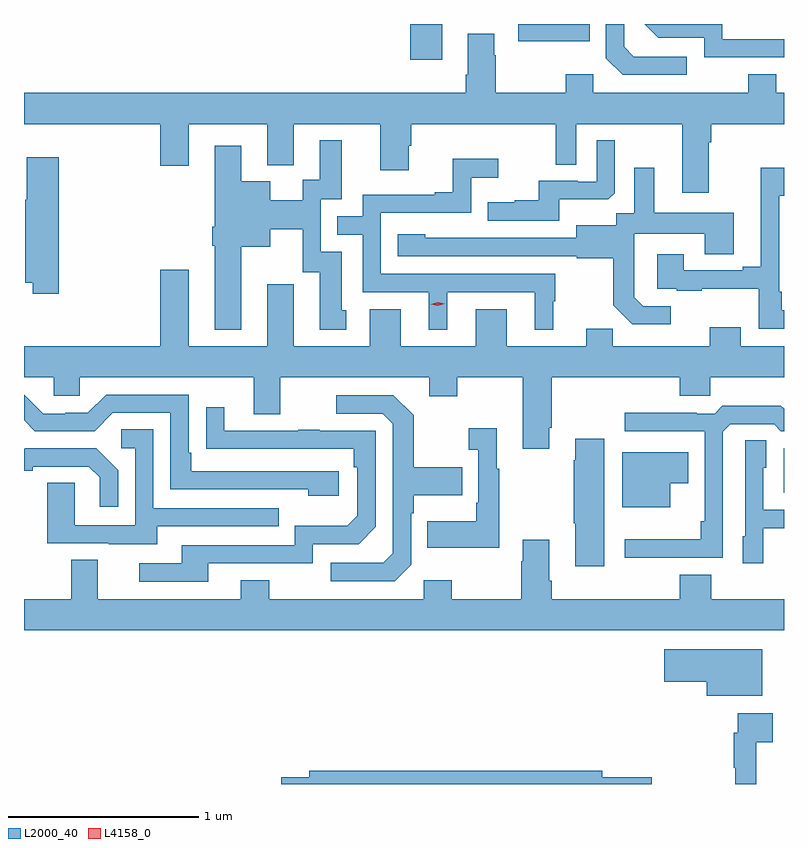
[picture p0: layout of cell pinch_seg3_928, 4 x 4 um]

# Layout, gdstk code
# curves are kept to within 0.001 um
import gdstk
lib = gdstk.Library(unit=1e-6, precision=1e-09)
def R(c, l, rs):  # rectangles x0, y0, x1, y1
    for r in rs: c.add(gdstk.rectangle(r[:2], r[2:], *l))
def P(c, l, *ps):  # polygons
    for p in ps: c.add(gdstk.Polygon(p, *l))
L2000_40 = (2000, 40)
L4158_0 = (4158, 0)

pinch_seg3_928 = lib.new_cell('pinch_seg3_928')
R(pinch_seg3_928, L2000_40, [(855.071,694.979,855.073,695.215), (853.106,697.26,853.273,697.447), (853.674,697.355,854.051,697.447)])
P(pinch_seg3_928, L2000_40, [(855.073,697.368),(854.748,697.368),(854.748,697.447),(854.339,697.447),(854.412,697.374),(854.652,697.374),(854.652,697.272),(855.073,697.272)],
  [(854.56,697.275),(854.283,697.275),(854.232,697.326),(854.232,697.447),(854.136,697.447),(854.136,697.266),(854.223,697.179),(854.56,697.179)],
  [(854.677,696.824),(854.69,696.824),(854.69,696.92),(855.073,696.92),(855.073,697.084),(855.031,697.084),(855.031,697.183),(854.884,697.183),(854.884,697.084),(854.07,697.084),(854.07,697.183),(853.924,697.183),(853.924,697.084),(853.557,697.084),(853.557,697.283),(853.549,697.283),(853.549,697.396),(853.409,697.396),(853.409,697.18),(853.397,697.18),(853.397,697.084),(851.073,697.084),(851.073,696.92),(851.789,696.92),(851.789,696.702),(851.941,696.702),(851.941,696.92),(852.353,696.92),(852.353,696.704),(852.493,696.704),(852.493,696.92),(852.947,696.92),(852.947,696.678),(853.099,696.678),(853.099,696.807),(853.112,696.807),(853.112,696.92),(853.872,696.92),(853.872,696.706),(853.98,696.706),(853.98,696.92),(854.537,696.92),(854.537,696.558),(854.677,696.558)],
  [(852.217,696.275),(852.37,696.275),(852.37,696.368),(852.54,696.368),(852.54,696.141),(852.629,696.141),(852.629,695.838),(852.769,695.838),(852.769,695.94),(852.745,695.94),(852.745,696.249),(852.636,696.249),(852.636,696.525),(852.745,696.525),(852.745,696.835),(852.629,696.835),(852.629,696.626),(852.539,696.626),(852.539,696.52),(852.37,696.52),(852.37,696.619),(852.217,696.619),(852.217,696.805),(852.077,696.805),(852.077,696.379),(852.065,696.379),(852.065,696.279),(852.077,696.279),(852.077,695.837),(852.217,695.837)],
  [(853.891,696.524),(854.149,696.524),(854.181,696.555),(854.181,696.835),(854.088,696.835),(854.088,696.618),(853.988,696.618),(853.988,696.621),(853.781,696.621),(853.781,696.52),(853.657,696.52),(853.657,696.508),(853.513,696.508),(853.513,696.411),(853.891,696.411)],
  [(851.255,696.745),(851.087,696.745),(851.087,696.521),(851.08,696.521),(851.08,696.086),(851.12,696.086),(851.12,696.027),(851.255,696.027)],
  [(853.3,696.036),(853.76,696.036),(853.76,695.837),(853.858,695.837),(853.858,695.988),(853.87,695.988),(853.87,696.132),(852.951,696.132),(852.951,696.453),(853.428,696.453),(853.428,696.638),(853.57,696.638),(853.57,696.737),(853.33,696.737),(853.33,696.562),(853.235,696.562),(853.235,696.549),(852.855,696.549),(852.855,696.435),(852.721,696.435),(852.721,696.339),(852.855,696.339),(852.855,696.036),(853.202,696.036),(853.202,695.837),(853.3,695.837)],
  [(854.476,695.961),(854.331,695.961),(854.284,696.008),(854.284,696.103),(854.286,696.103),(854.286,696.344),(854.657,696.344),(854.657,696.235),(854.809,696.235),(854.809,696.454),(854.389,696.454),(854.389,696.691),(854.285,696.691),(854.285,696.452),(854.19,696.452),(854.19,696.388),(853.979,696.388),(853.979,696.321),(853.185,696.322),(853.185,696.34),(853.041,696.34),(853.041,696.225),(853.983,696.225),(853.983,696.213),(854.175,696.213),(854.175,695.967),(854.275,695.867),(854.476,695.867)],
  [(855.073,695.941),(855.061,695.941),(855.061,696.037),(855.048,696.037),(855.048,696.542),(855.073,696.542),(855.073,696.691),(854.951,696.691),(854.951,696.169),(854.855,696.169),(854.855,696.15),(854.545,696.15),(854.545,696.235),(854.405,696.235),(854.405,696.054),(854.509,696.054),(854.509,696.042),(854.641,696.042),(854.641,696.053),(854.94,696.053),(854.94,695.844),(855.073,695.844)],
  [(853.837,695.323),(853.85,695.323),(853.85,695.588),(854.525,695.588),(854.525,695.49),(854.685,695.49),(854.685,695.588),(855.073,695.588),(855.073,695.752),(854.845,695.752),(854.845,695.851),(854.681,695.851),(854.681,695.752),(854.171,695.752),(854.171,695.843),(854.033,695.843),(854.033,695.752),(853.615,695.752),(853.615,695.947),(853.451,695.947),(853.451,695.752),(853.057,695.752),(853.057,695.947),(852.893,695.947),(852.893,695.752),(852.493,695.752),(852.493,696.076),(852.353,696.076),(852.353,695.752),(851.941,695.752),(851.941,696.154),(851.789,696.154),(851.789,695.752),(851.073,695.752),(851.073,695.588),(851.229,695.588),(851.229,695.49),(851.367,695.49),(851.367,695.588),(852.281,695.588),(852.281,695.394),(852.421,695.394),(852.421,695.588),(853.205,695.588),(853.205,695.489),(853.353,695.489),(853.353,695.588),(853.697,695.588),(853.697,695.211),(853.837,695.211)],
  [(852.73,695.094),(851.953,695.094),(851.953,695.191),(851.94,695.191),(851.94,695.496),(851.505,695.496),(851.409,695.4),(851.291,695.4),(851.291,695.397),(851.175,695.397),(851.075,695.497),(851.073,695.497),(851.073,695.361),(851.13,695.304),(851.445,695.304),(851.541,695.4),(851.844,695.4),(851.844,694.998),(852.569,694.998),(852.569,694.964),(852.73,694.964)],
  [(853.11,694.602),(853.11,694.871),(853.123,694.871),(853.123,694.967),(853.379,694.967),(853.379,695.115),(853.123,695.115),(853.123,695.387),(853.017,695.493),(852.717,695.493),(852.717,695.397),(852.96,695.397),(853.014,695.343),(853.014,694.662),(852.963,694.611),(852.687,694.611),(852.687,694.515),(853.023,694.515)],
  [(854.751,695.301),(854.79,695.34),(855.021,695.34),(855.057,695.304),(855.073,695.304),(855.073,695.421),(855.057,695.437),(854.749,695.437),(854.709,695.397),(854.615,695.397),(854.615,695.402),(854.235,695.402),(854.235,695.304),(854.655,695.304),(854.655,694.831),(854.635,694.831),(854.635,694.735),(854.235,694.735),(854.235,694.638),(854.751,694.638)],
  [(852.043,694.608),(852.594,694.608),(852.594,694.71),(852.834,694.71),(852.924,694.8),(852.924,695.307),(852.629,695.307),(852.629,695.312),(852.517,695.312),(852.517,695.307),(852.127,695.307),(852.127,695.431),(852.031,695.431),(852.031,695.212),(852.808,695.211),(852.808,695.114),(852.828,695.114),(852.828,694.86),(852.775,694.807),(852.498,694.807),(852.498,694.704),(851.903,694.704),(851.903,694.608),(851.679,694.608),(851.679,694.512),(852.043,694.512)],
  [(853.573,695.107),(853.561,695.107),(853.561,695.32),(853.413,695.32),(853.413,695.207),(853.464,695.207),(853.464,694.927),(853.452,694.927),(853.452,694.831),(853.195,694.831),(853.195,694.691),(853.573,694.691)],
  [(851.773,694.803),(852.413,694.803),(852.413,694.899),(851.754,694.899),(851.754,695.315),(851.586,695.315),(851.586,695.214),(851.658,695.214),(851.658,694.809),(851.34,694.809),(851.34,695.033),(851.195,695.033),(851.195,694.713),(851.519,694.713),(851.519,694.709),(851.773,694.709)],
  [(854.128,695.263),(853.973,695.263),(853.973,695.15),(853.966,695.15),(853.966,694.819),(853.973,694.819),(853.973,694.592),(854.128,694.592)],
  [(854.964,694.793),(855.073,694.793),(855.073,694.89),(854.964,694.89),(854.964,695.112),(854.98,695.112),(854.98,695.255),(854.868,695.255),(854.868,694.752),(854.855,694.752),(854.855,694.608),(854.964,694.608)],
  [(851.568,695.098),(851.452,695.214),(851.08,695.214),(851.08,695.211),(851.073,695.211),(851.073,695.096),(851.119,695.096),(851.119,695.118),(851.414,695.118),(851.471,695.061),(851.471,694.905),(851.568,694.905)],
  [(854.473,695.029),(854.57,695.029),(854.57,695.194),(854.222,695.194),(854.222,694.904),(854.473,694.904)],
  [(855.073,694.42),(854.689,694.42),(854.689,694.549),(854.525,694.549),(854.525,694.42),(853.85,694.42),(853.85,694.516),(853.837,694.516),(853.837,694.732),(853.697,694.732),(853.697,694.619),(853.69,694.619),(853.69,694.42),(853.323,694.42),(853.323,694.519),(853.176,694.519),(853.176,694.42),(852.363,694.42),(852.363,694.519),(852.215,694.519),(852.215,694.42),(851.461,694.42),(851.461,694.628),(851.321,694.628),(851.321,694.42),(851.073,694.42),(851.073,694.256),(855.073,694.256)],
  [(854.959,694.156),(854.442,694.156),(854.442,693.986),(854.666,693.986),(854.666,693.911),(854.959,693.911)],
  [(854.927,693.668),(855.013,693.668),(855.013,693.82),(854.829,693.82),(854.829,693.716),(854.809,693.716),(854.809,693.532),(854.817,693.532),(854.817,693.447),(854.927,693.447)],
  [(854.377,693.482),(854.116,693.482),(854.116,693.518),(852.575,693.518),(852.575,693.482),(852.426,693.482),(852.426,693.447),(854.377,693.447)])
P(pinch_seg3_928, L4158_0, [(853.251,695.963),(853.215,695.972),(853.215,695.973),(853.215,695.973),(853.251,695.983),(853.287,695.974),(853.287,695.974),(853.287,695.974)])

lib.write_gds('pinch_seg3_928.gds')
